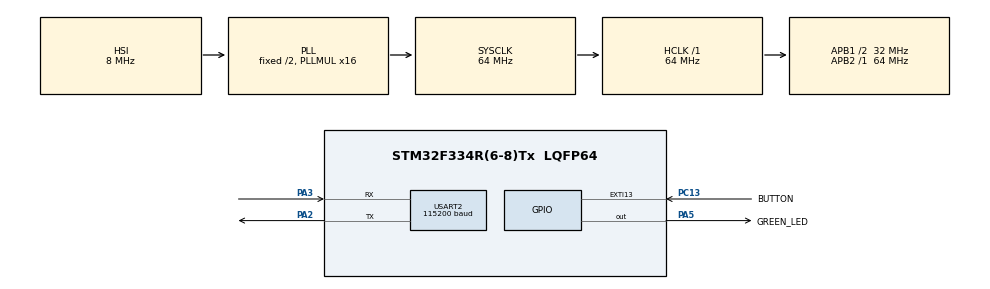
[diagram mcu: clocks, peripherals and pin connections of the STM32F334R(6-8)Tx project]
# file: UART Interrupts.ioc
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Mcu.Family=STM32F3
Mcu.Name=STM32F334R(6-8)Tx
Mcu.Package=LQFP64
NVIC.EXTI15_10_IRQn=true\:0\:0\:false\:false\:false\:true\:false\:true
NVIC.PriorityGroup=NVIC_PRIORITYGROUP_0
NVIC.USART2_IRQn=true\:0\:0\:false\:false\:false\:true\:false\:true
PA2.Mode=Asynchronous
PA2.Signal=USART2_TX
PA3.Mode=Asynchronous
PA3.Signal=USART2_RX
PA5.GPIO_Label=GREEN_LED
PA5.Signal=GPIO_Output
PC13.GPIO_Label=BUTTON
PC13.GPIO_ModeDefaultEXTI=GPIO_MODE_IT_FALLING
PC13.Signal=GPXTI13
ProjectManager.HeapSize=0x200
ProjectManager.StackSize=0x400
ProjectManager.TargetToolchain=STM32CubeIDE
RCC.AHBFreq_Value=64000000
RCC.APB1CLKDivider=RCC_HCLK_DIV2
RCC.APB1Freq_Value=32000000
RCC.APB1TimFreq_Value=64000000
RCC.APB2Freq_Value=64000000
RCC.APB2TimFreq_Value=64000000
RCC.CortexFreq_Value=64000000
RCC.FLatency-AdvancedSettings=FLASH_LATENCY_2
RCC.HCLKFreq_Value=64000000
RCC.HSE_VALUE=8000000
RCC.HSI_VALUE=8000000
RCC.LSE_VALUE=32768
RCC.PLLMUL=RCC_PLL_MUL16
RCC.SYSCLKFreq_VALUE=64000000
RCC.SYSCLKSourceVirtual=RCC_SYSCLKSOURCE_PLLCLK
USART2.BaudRate=115200
USART2.VirtualMode-Asynchronous=VM_ASYNC
board=NUCLEO-F334R8

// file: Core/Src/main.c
/* USER CODE BEGIN Header */
/**
  ******************************************************************************
  * @file           : main.c
  * @brief          : Main program body
  ******************************************************************************
  * @attention
  *
  * Copyright (c) 2024 STMicroelectronics.
  * All rights reserved.
  *
  * This software is licensed under terms that can be found in the LICENSE file
  * in the root directory of this software component.
  * If no LICENSE file comes with this software, it is provided AS-IS.
  *
  ******************************************************************************
  */
/* USER CODE END Header */
#include "main.h"

/* USER CODE BEGIN Includes */
#include <stdio.h>
#include <stdbool.h>
#include <string.h>
/* USER CODE END Includes */

/* USER CODE BEGIN PD */
#define BUFFER_LEN 100u

/* USER CODE END PD */

UART_HandleTypeDef huart2;

/* USER CODE BEGIN PV */
static bool flag_s = false;
static uint8_t tx_buffer_s[BUFFER_LEN]; // rx_data buffer
static uint8_t rx_buffer_s[BUFFER_LEN]; // tx_data buffer
static uint8_t rx_data_s; // receive buffer
static uint32_t counter_s = 0; // count how many bytes are received

static const char *it_works_s = "IT'S WORKING!\r\n";

/* USER CODE END PV */

void SystemClock_Config(void);
static void MX_GPIO_Init(void);
static void MX_USART2_UART_Init(void);

int main(void)
{

  /* MCU Configuration--------------------------------------------------------*/

  /* Reset of all peripherals, Initializes the Flash interface and the Systick. */
  HAL_Init();

  /* Configure the system clock */
  SystemClock_Config();

  /* Initialize all configured peripherals */
  MX_GPIO_Init();
  MX_USART2_UART_Init();
  /* USER CODE BEGIN 2 */

  // Here these functions need called to get the UART ready to receive and transmit data over the UART using interrupts.
  // Data sent out over the UART must be formatted, added to the tx_buffer_s buffer and sent from this buffer.
  // Data received into UART is stored in rx_data_s buffer 1 character at a time which allows the user to look for specific characters.
  HAL_UART_Transmit_IT(&huart2, tx_buffer_s, BUFFER_LEN);
  HAL_UART_Receive_IT(&huart2, &rx_data_s, 1);

  /* USER CODE END 2 */

  /* Infinite loop */
  while (1)
  {

    /* USER CODE BEGIN 3 */
	  // Code kept in place from the Interrupt tutorial. Operated by pressing the user button.
	  if (flag_s == true)
	  {
		  strcpy((char* )tx_buffer_s, it_works_s);
		  HAL_UART_Transmit(&huart2, tx_buffer_s, (uint16_t)BUFFER_LEN, 100);
		  flag_s = false;
	  }
  }
  /* USER CODE END 3 */
}

void SystemClock_Config(void)
{
  RCC_OscInitTypeDef RCC_OscInitStruct = {0};
  RCC_ClkInitTypeDef RCC_ClkInitStruct = {0};

  /** Initializes the RCC Oscillators according to the specified parameters
  * in the RCC_OscInitTypeDef structure.
  */
  RCC_OscInitStruct.OscillatorType = RCC_OSCILLATORTYPE_HSI;
  RCC_OscInitStruct.HSIState = RCC_HSI_ON;
  RCC_OscInitStruct.HSICalibrationValue = RCC_HSICALIBRATION_DEFAULT;
  RCC_OscInitStruct.PLL.PLLState = RCC_PLL_ON;
  RCC_OscInitStruct.PLL.PLLSource = RCC_PLLSOURCE_HSI;
  RCC_OscInitStruct.PLL.PLLMUL = RCC_PLL_MUL16;
  if (HAL_RCC_OscConfig(&RCC_OscInitStruct) != HAL_OK)
  {
    Error_Handler();
  }

  /** Initializes the CPU, AHB and APB buses clocks
  */
  RCC_ClkInitStruct.ClockType = RCC_CLOCKTYPE_HCLK|RCC_CLOCKTYPE_SYSCLK
                              |RCC_CLOCKTYPE_PCLK1|RCC_CLOCKTYPE_PCLK2;
  RCC_ClkInitStruct.SYSCLKSource = RCC_SYSCLKSOURCE_PLLCLK;
  RCC_ClkInitStruct.AHBCLKDivider = RCC_SYSCLK_DIV1;
  RCC_ClkInitStruct.APB1CLKDivider = RCC_HCLK_DIV2;
  RCC_ClkInitStruct.APB2CLKDivider = RCC_HCLK_DIV1;

  if (HAL_RCC_ClockConfig(&RCC_ClkInitStruct, FLASH_LATENCY_2) != HAL_OK)
  {
    Error_Handler();
  }
}

static void MX_USART2_UART_Init(void)
{

  huart2.Instance = USART2;
  huart2.Init.BaudRate = 115200;
  huart2.Init.WordLength = UART_WORDLENGTH_8B;
  huart2.Init.StopBits = UART_STOPBITS_1;
  huart2.Init.Parity = UART_PARITY_NONE;
  huart2.Init.Mode = UART_MODE_TX_RX;
  huart2.Init.HwFlowCtl = UART_HWCONTROL_NONE;
  huart2.Init.OverSampling = UART_OVERSAMPLING_16;
  huart2.Init.OneBitSampling = UART_ONE_BIT_SAMPLE_DISABLE;
  huart2.AdvancedInit.AdvFeatureInit = UART_ADVFEATURE_NO_INIT;
  if (HAL_UART_Init(&huart2) != HAL_OK)
  {
    Error_Handler();
  }

}

static void MX_GPIO_Init(void)
{
  GPIO_InitTypeDef GPIO_InitStruct = {0};

  /* GPIO Ports Clock Enable */
  __HAL_RCC_GPIOC_CLK_ENABLE();
  __HAL_RCC_GPIOA_CLK_ENABLE();

  /*Configure GPIO pin Output Level */
  HAL_GPIO_WritePin(GREEN_LED_GPIO_Port, GREEN_LED_Pin, GPIO_PIN_RESET);

  /*Configure GPIO pin : BUTTON_Pin */
  GPIO_InitStruct.Pin = BUTTON_Pin;
  GPIO_InitStruct.Mode = GPIO_MODE_IT_FALLING;
  GPIO_InitStruct.Pull = GPIO_NOPULL;
  HAL_GPIO_Init(BUTTON_GPIO_Port, &GPIO_InitStruct);

  /*Configure GPIO pin : GREEN_LED_Pin */
  GPIO_InitStruct.Pin = GREEN_LED_Pin;
  GPIO_InitStruct.Mode = GPIO_MODE_OUTPUT_PP;
  GPIO_InitStruct.Pull = GPIO_NOPULL;
  GPIO_InitStruct.Speed = GPIO_SPEED_FREQ_LOW;
  HAL_GPIO_Init(GREEN_LED_GPIO_Port, &GPIO_InitStruct);

  /* EXTI interrupt init*/
  HAL_NVIC_SetPriority(EXTI15_10_IRQn, 0, 0);
  HAL_NVIC_EnableIRQ(EXTI15_10_IRQn);

}

/* USER CODE BEGIN 4 */
/**
  * @brief This function handles EXTI line[15:10] interrupts.
  */
void EXTI15_10_IRQHandler(void)
{
  /* USER CODE BEGIN EXTI15_10_IRQn 0 */
	flag_s = true;
  /* USER CODE END EXTI15_10_IRQn 0 */
  HAL_GPIO_EXTI_IRQHandler(BUTTON_Pin);
  /* USER CODE BEGIN EXTI15_10_IRQn 1 */

  /* USER CODE END EXTI15_10_IRQn 1 */
}

// The following 3 functions are used for implementing the UART Interrupts.
// The first function is called when the UART receives data over the UART and subsequently routes to the callback function HAL_UART_RxCpltCallback.
// The callback function HAL_UART_RxCpltCallback can be used to process the UART Rx data.
/**
  * @brief This function handles USART2 global interrupt / USART2 wake-up interrupt through EXT line 26.
  */
void USART2_IRQHandler(void)
{
  /* USER CODE BEGIN USART2_IRQn 0 */

	// The interrupt handler for the UART must be added here for the interrupt callback functions to be processed.
	HAL_UART_IRQHandler(&huart2);

  /* USER CODE END USART2_IRQn 0 */
  /* USER CODE BEGIN USART2_IRQn 1 */

  /* USER CODE END USART2_IRQn 1 */
}

// UART Transmit callback function
void HAL_UART_TxCpltCallback(UART_HandleTypeDef *huart)
{
	memset(tx_buffer_s, '\0', (size_t)BUFFER_LEN); //empty the transmit data buffer to be ready for new data.
}

// UART Receive callback function
void HAL_UART_RxCpltCallback(UART_HandleTypeDef *huart)
{

	 if(rx_data_s == '\r') // If we get the "Enter" character (carriage return ASCII) from the terminal.
	 {
		 char* hello_cmd = "hello"; // this is the command we want to look for from the sender.

		 if (strcmp(hello_cmd, rx_buffer_s) == 0) // string compare the command against what we received from the sender.
		 {
			 // if the comparison is okay, move the response into the transmit buffer.
			 const char *reponse = "Hello to you too!\n";
			 strcpy((char* )tx_buffer_s, reponse);
		 }
		 else
		 {
			 // if the comparison is not okay, move the error response into the transmit buffer.
			 const char *error = "Uh oh, something didn't work...\n";
			 strcpy((char* )tx_buffer_s, error);
		 }

		 HAL_UART_Transmit(&huart2, tx_buffer_s, (uint16_t)BUFFER_LEN, 100); // transmit the data buffer out the UART Tx pin.
		 memset(tx_buffer_s, '\0', (size_t)BUFFER_LEN); //empty the transmit data buffer to be ready for new data.
		 memset(rx_buffer_s, '\0', (size_t)BUFFER_LEN); //empty the receive data buffer to be ready for new data.
		 counter_s = 0; // reset the counter to be ready for new data.

	 }
	 else
	 {
		 // if there is data coming into the rx_data pointer that isn't the "Enter" character then add it to the buffer.
		 rx_buffer_s[counter_s++] = rx_data_s;
	 }

	 // Get ready for new data in rx_data_s pointer.
	 HAL_UART_Receive_IT(&huart2, &rx_data_s, 1);
}
/* USER CODE END 4 */

void Error_Handler(void)
{
  __disable_irq();
  while (1)
  {
  }
}
